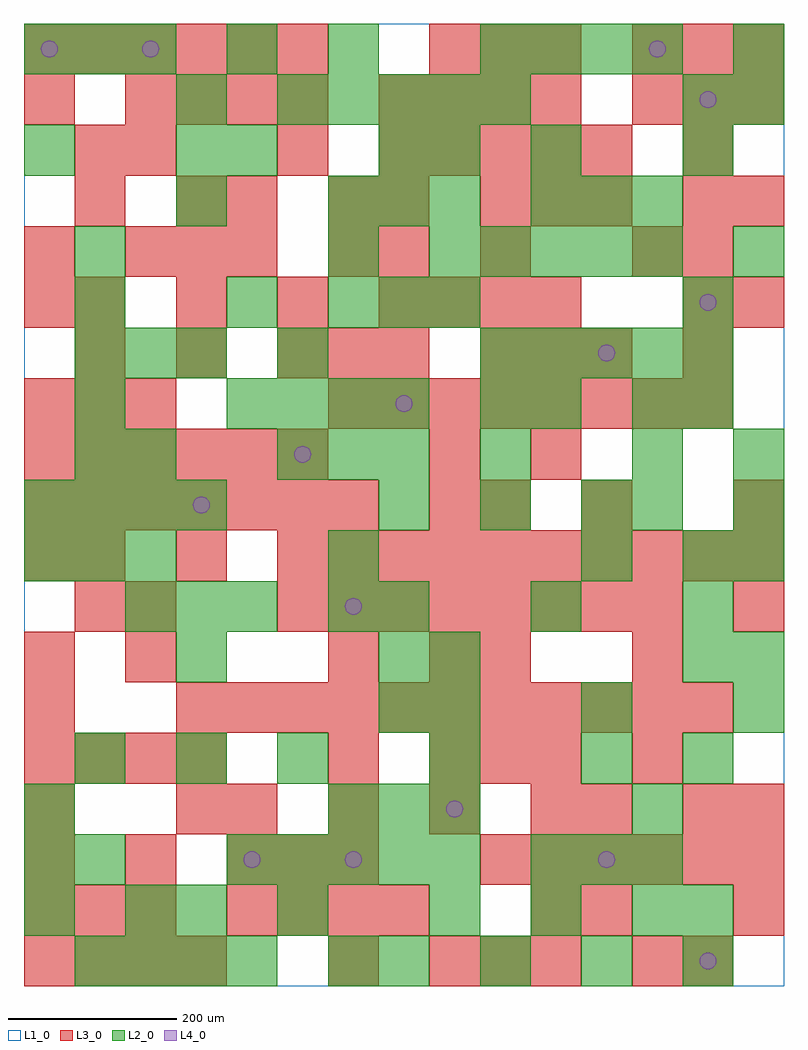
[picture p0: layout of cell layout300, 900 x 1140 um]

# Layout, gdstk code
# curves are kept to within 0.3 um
import gdstk
lib = gdstk.Library(unit=1e-6, precision=1e-09)
def R(c, l, rs):  # rectangles x0, y0, x1, y1
    for r in rs: c.add(gdstk.rectangle(r[:2], r[2:], *l))
def A(c, l, x, y, w, h, nx, ny, dx, dy):  # array of equal rectangles
    R(c, l, [(x+i*dx, y+j*dy, x+i*dx+w, y+j*dy+h) for i in range(nx) for j in range(ny)])
def P(c, l, *ps):  # polygons
    for p in ps: c.add(gdstk.Polygon(p, *l))
L1_0 = (1, 0)
L2_0 = (2, 0)
L3_0 = (3, 0)
L4_0 = (4, 0)

layout300 = lib.new_cell('layout300')
R(layout300, L1_0, [(0,0,900,1140)])
A(layout300, L2_0, 60, 0, 60, 60, 4, 1, 60, 0)
A(layout300, L2_0, 420, 0, 60, 60, 4, 1, 120, 0)
A(layout300, L2_0, 0, 60, 60, 60, 1, 3, 0, 60)
A(layout300, L2_0, 480, 60, 60, 60, 3, 1, 120, 0)
A(layout300, L2_0, 240, 120, 60, 60, 5, 1, 60, 0)
A(layout300, L2_0, 600, 120, 60, 60, 3, 2, 60, 780)
A(layout300, L2_0, 360, 180, 60, 60, 3, 2, 60, 600)
A(layout300, L2_0, 60, 240, 60, 60, 3, 1, 120, 0)
A(layout300, L2_0, 780, 240, 60, 60, 1, 3, 0, 120)
A(layout300, L2_0, 480, 300, 60, 60, 3, 1, 180, 0)
A(layout300, L2_0, 120, 420, 60, 60, 3, 1, 60, 0)
A(layout300, L2_0, 420, 420, 60, 60, 3, 1, 180, 0)
A(layout300, L2_0, 0, 480, 60, 60, 3, 2, 60, 600)
A(layout300, L2_0, 840, 480, 60, 60, 1, 3, 0, 60)
A(layout300, L2_0, 0, 540, 60, 60, 4, 1, 60, 0)
A(layout300, L2_0, 420, 540, 60, 60, 3, 1, 120, 0)
A(layout300, L2_0, 720, 540, 60, 60, 1, 3, 0, 60)
A(layout300, L2_0, 300, 600, 60, 60, 3, 1, 60, 0)
A(layout300, L2_0, 240, 660, 60, 60, 4, 1, 60, 0)
A(layout300, L2_0, 60, 720, 60, 60, 3, 1, 60, 0)
A(layout300, L2_0, 540, 720, 60, 60, 5, 1, 60, 0)
A(layout300, L2_0, 480, 840, 60, 60, 5, 1, 60, 0)
A(layout300, L2_0, 180, 900, 60, 60, 1, 3, 0, 60)
A(layout300, L2_0, 360, 900, 60, 60, 3, 1, 60, 0)
A(layout300, L2_0, 300, 1020, 60, 60, 5, 1, 60, 0)
A(layout300, L2_0, 540, 1080, 60, 60, 4, 1, 60, 0)
R(layout300, L2_0, [(360,0,420,60), (120,60,180,120), (180,60,240,120), (300,60,360,120), (780,60,840,120), (60,120,120,180), (720,180,780,240), (480,240,540,300), (660,240,720,300), (420,300,480,360), (180,360,240,420), (420,360,480,420), (480,360,540,420), (840,360,900,420), (360,420,420,480), (360,480,420,540), (660,480,720,540), (60,600,120,660), (120,600,180,660), (540,600,600,660), (60,660,120,720), (540,660,600,720), (600,660,660,720), (780,660,840,720), (300,720,360,780), (60,780,120,840), (240,780,300,840), (780,780,840,840), (60,840,120,900), (360,840,420,900), (840,840,900,900), (0,960,60,1020), (240,960,300,1020), (420,960,480,1020), (480,960,540,1020), (600,960,660,1020), (780,960,840,1020), (780,1020,840,1080), (840,1020,900,1080), (240,1080,300,1140), (360,1080,420,1140), (840,1080,900,1140)])
A(layout300, L3_0, 0, 0, 60, 60, 4, 2, 60, 240)
A(layout300, L3_0, 360, 0, 60, 60, 1, 4, 0, 120)
A(layout300, L3_0, 480, 0, 60, 60, 3, 2, 60, 240)
A(layout300, L3_0, 0, 60, 60, 60, 3, 2, 60, 600)
A(layout300, L3_0, 240, 60, 60, 60, 4, 1, 60, 0)
A(layout300, L3_0, 0, 120, 60, 60, 3, 1, 120, 0)
A(layout300, L3_0, 540, 120, 60, 60, 6, 1, 60, 0)
A(layout300, L3_0, 240, 180, 60, 60, 4, 1, 120, 0)
A(layout300, L3_0, 180, 300, 60, 60, 11, 1, 60, 0)
A(layout300, L3_0, 300, 420, 60, 60, 8, 1, 60, 0)
A(layout300, L3_0, 60, 480, 60, 60, 3, 2, 120, 240)
A(layout300, L3_0, 360, 480, 60, 60, 9, 1, 60, 0)
A(layout300, L3_0, 0, 540, 60, 60, 7, 1, 60, 0)
A(layout300, L3_0, 0, 600, 60, 60, 6, 2, 60, 480)
A(layout300, L3_0, 360, 660, 60, 60, 8, 1, 60, 0)
A(layout300, L3_0, 540, 720, 60, 60, 3, 2, 60, 180)
A(layout300, L3_0, 780, 720, 60, 60, 1, 5, 0, 60)
A(layout300, L3_0, 60, 780, 60, 60, 4, 1, 120, 0)
A(layout300, L3_0, 480, 780, 60, 60, 3, 2, 60, 300)
A(layout300, L3_0, 120, 840, 60, 60, 3, 1, 60, 0)
A(layout300, L3_0, 420, 960, 60, 60, 5, 1, 60, 0)
A(layout300, L3_0, 120, 1020, 60, 60, 4, 1, 60, 0)
A(layout300, L3_0, 420, 1020, 60, 60, 4, 1, 60, 0)
A(layout300, L3_0, 720, 1020, 60, 60, 3, 2, 60, 60)
R(layout300, L3_0, [(720,0,780,60), (780,0,840,60), (600,60,660,120), (660,60,720,120), (840,60,900,120), (300,120,360,180), (0,180,60,240), (180,180,240,240), (660,180,720,240), (780,180,840,240), (840,180,900,240), (720,240,780,300), (0,300,60,360), (0,360,60,420), (120,360,180,420), (480,360,540,420), (540,360,600,420), (720,360,780,420), (60,420,120,480), (120,420,180,480), (840,420,900,480), (0,480,60,540), (480,540,540,600), (540,540,600,600), (660,540,720,600), (840,540,900,600), (480,600,540,660), (600,600,660,660), (360,720,420,780), (420,720,480,780), (0,780,60,840), (840,780,900,840), (0,840,60,900), (360,840,420,900), (420,840,480,900), (540,840,600,900), (720,840,780,900), (60,900,120,960), (180,900,240,960), (240,900,300,960), (360,900,420,960), (420,900,480,960), (840,900,900,960), (60,960,120,1020), (120,960,180,1020), (300,960,360,1020), (0,1020,60,1080)])
P(layout300, L4_0, [(40,1110),(39.239,1113.827),(37.071,1117.071),(33.827,1119.239),(30,1120),(26.173,1119.239),(22.929,1117.071),(20.761,1113.827),(20,1110),(20.761,1106.173),(22.929,1102.929),(26.173,1100.761),(30,1100),(33.827,1100.761),(37.071,1102.929),(39.239,1106.173)],
  [(160,1110),(159.239,1113.827),(157.071,1117.071),(153.827,1119.239),(150,1120),(146.173,1119.239),(142.929,1117.071),(140.761,1113.827),(140,1110),(140.761,1106.173),(142.929,1102.929),(146.173,1100.761),(150,1100),(153.827,1100.761),(157.071,1102.929),(159.239,1106.173)],
  [(220,570),(219.239,573.827),(217.071,577.071),(213.827,579.239),(210,580),(206.173,579.239),(202.929,577.071),(200.761,573.827),(200,570),(200.761,566.173),(202.929,562.929),(206.173,560.761),(210,560),(213.827,560.761),(217.071,562.929),(219.239,566.173)],
  [(280,150),(279.239,153.827),(277.071,157.071),(273.827,159.239),(270,160),(266.173,159.239),(262.929,157.071),(260.761,153.827),(260,150),(260.761,146.173),(262.929,142.929),(266.173,140.761),(270,140),(273.827,140.761),(277.071,142.929),(279.239,146.173)],
  [(340,630),(339.239,633.827),(337.071,637.071),(333.827,639.239),(330,640),(326.173,639.239),(322.929,637.071),(320.761,633.827),(320,630),(320.761,626.173),(322.929,622.929),(326.173,620.761),(330,620),(333.827,620.761),(337.071,622.929),(339.239,626.173)],
  [(400,150),(399.239,153.827),(397.071,157.071),(393.827,159.239),(390,160),(386.173,159.239),(382.929,157.071),(380.761,153.827),(380,150),(380.761,146.173),(382.929,142.929),(386.173,140.761),(390,140),(393.827,140.761),(397.071,142.929),(399.239,146.173)],
  [(400,450),(399.239,453.827),(397.071,457.071),(393.827,459.239),(390,460),(386.173,459.239),(382.929,457.071),(380.761,453.827),(380,450),(380.761,446.173),(382.929,442.929),(386.173,440.761),(390,440),(393.827,440.761),(397.071,442.929),(399.239,446.173)],
  [(460,690),(459.239,693.827),(457.071,697.071),(453.827,699.239),(450,700),(446.173,699.239),(442.929,697.071),(440.761,693.827),(440,690),(440.761,686.173),(442.929,682.929),(446.173,680.761),(450,680),(453.827,680.761),(457.071,682.929),(459.239,686.173)],
  [(520,210),(519.239,213.827),(517.071,217.071),(513.827,219.239),(510,220),(506.173,219.239),(502.929,217.071),(500.761,213.827),(500,210),(500.761,206.173),(502.929,202.929),(506.173,200.761),(510,200),(513.827,200.761),(517.071,202.929),(519.239,206.173)],
  [(700,150),(699.239,153.827),(697.071,157.071),(693.827,159.239),(690,160),(686.173,159.239),(682.929,157.071),(680.761,153.827),(680,150),(680.761,146.173),(682.929,142.929),(686.173,140.761),(690,140),(693.827,140.761),(697.071,142.929),(699.239,146.173)],
  [(700,750),(699.239,753.827),(697.071,757.071),(693.827,759.239),(690,760),(686.173,759.239),(682.929,757.071),(680.761,753.827),(680,750),(680.761,746.173),(682.929,742.929),(686.173,740.761),(690,740),(693.827,740.761),(697.071,742.929),(699.239,746.173)],
  [(760,1110),(759.239,1113.827),(757.071,1117.071),(753.827,1119.239),(750,1120),(746.173,1119.239),(742.929,1117.071),(740.761,1113.827),(740,1110),(740.761,1106.173),(742.929,1102.929),(746.173,1100.761),(750,1100),(753.827,1100.761),(757.071,1102.929),(759.239,1106.173)],
  [(820,30),(819.239,33.827),(817.071,37.071),(813.827,39.239),(810,40),(806.173,39.239),(802.929,37.071),(800.761,33.827),(800,30),(800.761,26.173),(802.929,22.929),(806.173,20.761),(810,20),(813.827,20.761),(817.071,22.929),(819.239,26.173)],
  [(820,810),(819.239,813.827),(817.071,817.071),(813.827,819.239),(810,820),(806.173,819.239),(802.929,817.071),(800.761,813.827),(800,810),(800.761,806.173),(802.929,802.929),(806.173,800.761),(810,800),(813.827,800.761),(817.071,802.929),(819.239,806.173)],
  [(820,1050),(819.239,1053.827),(817.071,1057.071),(813.827,1059.239),(810,1060),(806.173,1059.239),(802.929,1057.071),(800.761,1053.827),(800,1050),(800.761,1046.173),(802.929,1042.929),(806.173,1040.761),(810,1040),(813.827,1040.761),(817.071,1042.929),(819.239,1046.173)])

lib.write_gds('layout300.gds')
